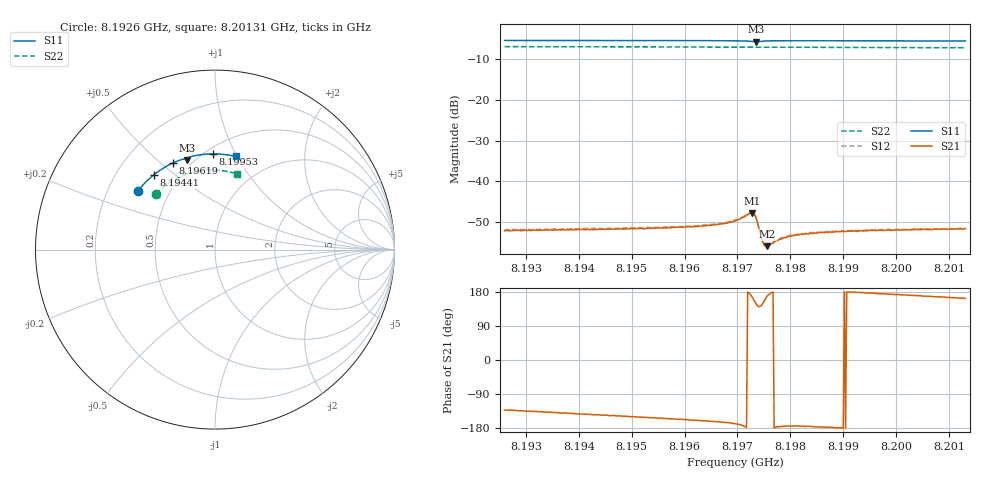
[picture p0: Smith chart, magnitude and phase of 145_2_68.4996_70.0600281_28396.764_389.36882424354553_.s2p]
#  HZ  S  RI  R  50.00
! Rohde & Schwarz Vector Network Analyzer
! Rohde-Schwarz,ZNB20-2Port,1311601062101988,3.16
! Created: UTC 3/20/2024, 5:10:11 PM
! freq[Hz]  re:S11  im:S11  re:S21  im:S21  re:S12  im:S12  re:S22  im:S22
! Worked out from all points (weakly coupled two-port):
!   401 points, 8.1926 GHz to 8.20131 GHz, reference 50 ohm
!   highest |S21| = -47.74 dB at 8.19728 GHz (marker M1); lowest = -55.9 dB at 8.19756 GHz (marker M2)
!   lowest |S11| = -5.7 dB at 8.19735 GHz (marker M3), VSWR 3.17, Z = 23 + j31.4 ohm
!   |S11| at or under -10 dB: nowhere
!   |S22| runs from -7.2 to -6.9 dB; largest |S21 - S12| = 0.00018
!   S11 on the Smith chart (normalised r, x): 8.1926 GHz: 0.33, +0.30; 8.19441 GHz: 0.36, +0.42; 8.19619 GHz: 0.40, +0.55; 8.19953 GHz: 0.55, +0.82; 8.20131 GHz: 0.68, +0.99
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8.192597e9  -0.4309 0.3245  -0.00166 -0.00183  -0.00174 -0.00185  -0.3309 0.3096
8.194057e9  -0.3607 0.3998  -0.00202 -0.00156  -0.00212 -0.00152  -0.2688 0.3624
8.194405e9  -0.342 0.4156  -0.00212 -0.00147  -0.00221 -0.00145  -0.2526 0.3732
8.195517e9  -0.2776 0.4601  -0.00241 -0.00118  -0.0025 -0.00115  -0.1979 0.4029
8.196192e9  -0.235 0.4826  -0.0026 -0.00102  -0.0027 -0.000935  -0.1628 0.4172
8.196693e9  -0.2013 0.4966  -0.00289 -0.000844  -0.00299 -0.000718  -0.1358 0.4259
8.196955e9  -0.1823 0.5026  -0.00321 -0.000663  -0.00331 -0.000547  -0.1216 0.4298
8.197216e9  -0.1602 0.5038  -0.00399 0.000205  -0.00402 0.000337  -0.1071 0.433
8.197281e9  -0.1557 0.5004  -0.00397 0.00102  -0.004 0.00118  -0.1035 0.4336
8.197325e9  -0.1553 0.4974  -0.00355 0.00166  -0.00352 0.00181  -0.1013 0.4341
8.197347e9  -0.1562 0.4966  -0.00314 0.00186  -0.00313 0.00201  -0.1001 0.434
8.197369e9  -0.1573 0.4966  -0.00271 0.00189  -0.00269 0.00204  -0.099 0.4344
8.197434e9  -0.159 0.501  -0.00176 0.00139  -0.00175 0.00147  -0.0957 0.4353
8.197477e9  -0.1575 0.5046  -0.00156 0.000937  -0.00153 0.00103  -0.0931 0.4359
8.197521e9  -0.1548 0.5077  -0.00152 0.000571  -0.00152 0.000676  -0.0908 0.4363
8.197565e9  -0.1514 0.5102  -0.00158 0.000303  -0.00163 0.000374  -0.0882 0.4367
8.197761e9  -0.1364 0.5167  -0.00187 -0.000135  -0.00192 -1.86e-05  -0.0774 0.4385
8.197935e9  -0.1236 0.5204  -0.00207 -0.00022  -0.00211 -9.18e-05  -0.0675 0.4399
8.198414e9  -0.089 0.5272  -0.0023 -0.000187  -0.00234 -7.78e-05  -0.0404 0.4423
8.199526e9  -0.0102 0.5335  -0.00253 0.000153  -0.00251 0.00029  0.0227 0.4416
8.199874e9  0.0146 0.5331  -0.00252 0.000302  -0.00255 0.000409  0.0423 0.4394
8.201312e9  0.115 0.5188  -0.00251 0.000787  -0.00249 0.000888  0.1223 0.4214
